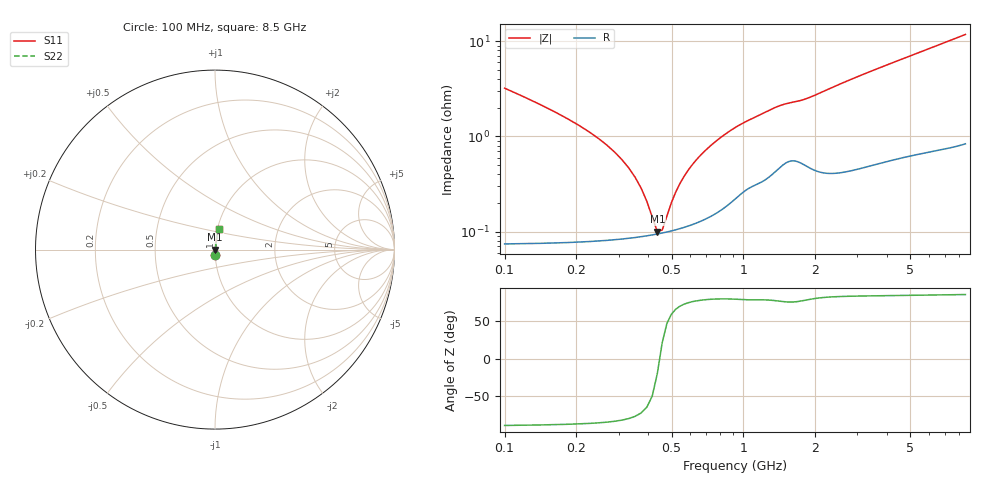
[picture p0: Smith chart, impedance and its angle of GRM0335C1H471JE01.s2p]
!Murata Part Number: GRM0335C1H471JE01
!These Parameters are Measured in Series Mode Connection
!Data Generated on Mar 30, 2021
!  o--ll--o
!Port1  Port2
!  o------o
!Operation Temp=25[degC], DC Bias Voltage=0[V]
!Freq. Start=100[MHz] Stop=9[GHz] 401[Steps]
# Hz S RI R 50
!Freq.(Hz) S11(Real) S11(Imag) S21(Real) S21(Imag) S12(Real) S12(Imag) S22(Real) S22(Imag)
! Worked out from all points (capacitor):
!   401 points, 100 MHz to 8.5 GHz, reference 50 ohm
!   read as one part in series: C = 470 pF near 142 MHz
!   lowest |Z| = 100 mohm at 436 MHz (marker M1)
!   series resonance near 445.7 MHz, so ESL is about 270 pH
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1e8  0.00178 -0.0321  0.9982 0.0321  0.9982 0.0321  0.00178 -0.0321
1.42e8  0.00121 -0.0214  0.9988 0.0214  0.9988 0.0214  0.00121 -0.0214
3.1e8  0.000869 -0.00564  0.9991 0.00564  0.9991 0.00564  0.000869 -0.00564
3.52e8  0.000882 -0.00362  0.9991 0.00362  0.9991 0.00362  0.000882 -0.00362
4.15e8  0.000926 -0.00108  0.9991 0.00108  0.9991 0.00108  0.000926 -0.00108
4.36e8  0.000946 -0.000332  0.9991 0.000332  0.9991 0.000332  0.000946 -0.000332
4.57e8  0.000969 0.000385  0.999 -0.000385  0.999 -0.000385  0.000969 0.000385
4.78e8  0.000994 0.00107  0.999 -0.00107  0.999 -0.00107  0.000994 0.00107
5.41e8  0.00108 0.00298  0.9989 -0.00298  0.9989 -0.00298  0.00108 0.00298
5.62e8  0.00112 0.00358  0.9989 -0.00358  0.9989 -0.00358  0.00112 0.00358
6.04e8  0.0012 0.00472  0.9988 -0.00472  0.9988 -0.00472  0.0012 0.00472
6.88e8  0.00139 0.00687  0.9986 -0.00687  0.9986 -0.00687  0.00139 0.00687
7.72e8  0.00165 0.00887  0.9984 -0.00887  0.9984 -0.00887  0.00165 0.00887
8.98e8  0.00221 0.0116  0.9978 -0.0116  0.9978 -0.0116  0.00221 0.0116
1.024e9  0.00292 0.014  0.9971 -0.014  0.9971 -0.014  0.00292 0.014
1.297e9  0.00418 0.0186  0.9958 -0.0186  0.9958 -0.0186  0.00418 0.0186
1.507e9  0.0057 0.0212  0.9943 -0.0212  0.9943 -0.0212  0.0057 0.0212
2.914e9  0.00607 0.0405  0.9939 -0.0405  0.9939 -0.0405  0.00607 0.0405
4.3e9  0.00926 0.0595  0.9907 -0.0595  0.9907 -0.0595  0.00926 0.0595
5.707e9  0.0128 0.078  0.9872 -0.078  0.9872 -0.078  0.0128 0.078
7.114e9  0.0168 0.0962  0.9832 -0.0962  0.9832 -0.0962  0.0168 0.0962
8.5e9  0.0216 0.114  0.9784 -0.114  0.9784 -0.114  0.0216 0.114
